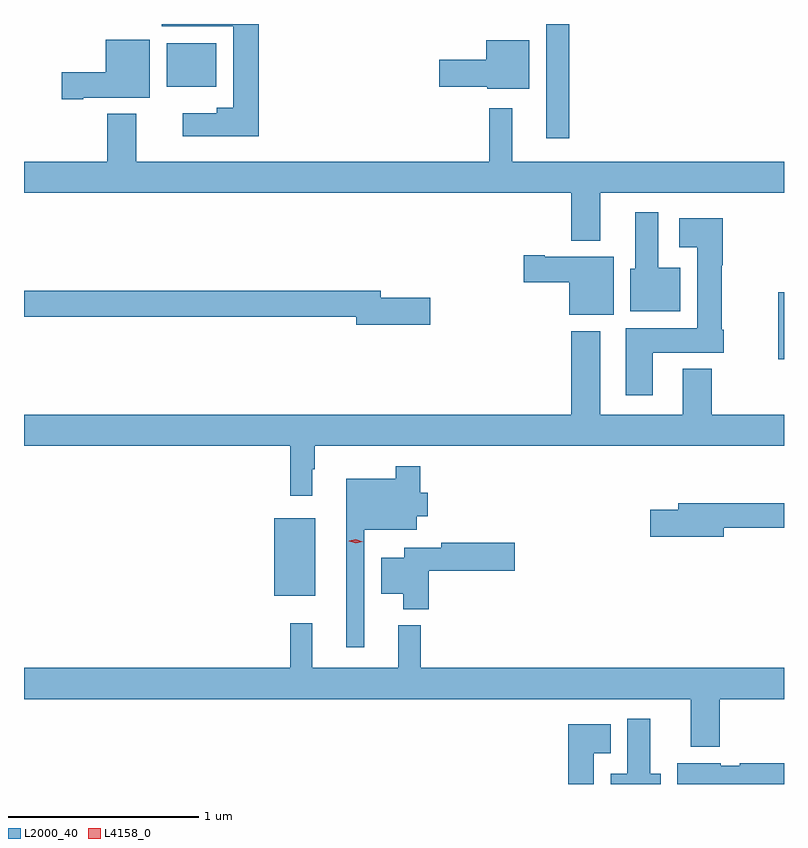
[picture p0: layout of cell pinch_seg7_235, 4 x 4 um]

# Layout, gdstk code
import gdstk
lib = gdstk.Library(unit=1e-6, precision=1e-09)
def R(c, l, rs):  # rectangles x0, y0, x1, y1
    for r in rs: c.add(gdstk.rectangle(r[:2], r[2:], *l))
def P(c, l, *ps):  # polygons
    for p in ps: c.add(gdstk.Polygon(p, *l))
L2000_40 = (2000, 40)
L4158_0 = (4158, 0)

pinch_seg7_235 = lib.new_cell('pinch_seg7_235')
R(pinch_seg7_235, L2000_40, [(832.022,1073.087,832.237,1073.497), (834.674,1074.333,834.705,1074.685), (833.453,1075.497,833.575,1076.097), (831.455,1075.766,831.718,1075.996), (833.154,1076.096,833.275,1076.097)])
P(pinch_seg7_235, L2000_40, [(831.941,1076.097),(831.431,1076.097),(831.431,1076.084),(831.806,1076.084),(831.806,1075.657),(831.719,1075.657),(831.719,1075.627),(831.54,1075.627),(831.54,1075.505),(831.941,1075.505)],
  [(831.016,1075.709),(831.367,1075.709),(831.367,1076.014),(831.134,1076.014),(831.134,1075.844),(830.904,1075.844),(830.904,1075.702),(831.016,1075.702)],
  [(833.365,1076.011),(833.138,1076.011),(833.138,1075.91),(832.89,1075.91),(832.89,1075.768),(833.142,1075.768),(833.142,1075.757),(833.365,1075.757)],
  [(833.737,1075.208),(834.705,1075.208),(834.705,1075.372),(833.275,1075.372),(833.275,1075.654),(833.154,1075.654),(833.154,1075.372),(831.295,1075.372),(831.295,1075.624),(831.143,1075.624),(831.143,1075.372),(830.705,1075.372),(830.705,1075.208),(833.585,1075.208),(833.585,1074.956),(833.737,1074.956)],
  [(834.16,1074.814),(834.043,1074.814),(834.043,1075.105),(833.921,1075.105),(833.921,1074.81),(833.897,1074.81),(833.897,1074.584),(834.16,1074.584)],
  [(834.013,1074.368),(834.388,1074.368),(834.388,1074.489),(834.378,1074.489),(834.378,1074.827),(834.383,1074.827),(834.383,1075.075),(834.153,1075.075),(834.153,1074.923),(834.248,1074.923),(834.248,1074.496),(833.873,1074.496),(833.873,1074.144),(834.013,1074.144)],
  [(833.809,1074.871),(833.446,1074.871),(833.446,1074.879),(833.334,1074.879),(833.334,1074.737),(833.576,1074.737),(833.576,1074.566),(833.809,1074.566)],
  [(832.843,1074.656),(832.582,1074.656),(832.582,1074.692),(830.705,1074.692),(830.705,1074.556),(832.454,1074.556),(832.454,1074.514),(832.843,1074.514)],
  [(832.222,1073.753),(832.234,1073.753),(832.234,1073.876),(834.705,1073.876),(834.705,1074.04),(834.326,1074.04),(834.326,1074.283),(834.173,1074.283),(834.173,1074.04),(833.737,1074.04),(833.737,1074.481),(833.585,1074.481),(833.585,1074.04),(830.705,1074.04),(830.705,1073.876),(832.105,1073.876),(832.105,1073.613),(832.222,1073.613)],
  [(832.497,1073.435),(832.771,1073.435),(832.771,1073.507),(832.831,1073.507),(832.831,1073.629),(832.79,1073.629),(832.79,1073.77),(832.662,1073.77),(832.662,1073.704),(832.4,1073.704),(832.4,1072.818),(832.497,1072.818)],
  [(834.388,1073.446),(834.705,1073.446),(834.705,1073.575),(834.149,1073.575),(834.149,1073.541),(834,1073.541),(834,1073.399),(834.388,1073.399)],
  [(832.835,1073.219),(833.287,1073.219),(833.287,1073.366),(832.902,1073.366),(832.902,1073.341),(832.706,1073.341),(832.706,1073.287),(832.586,1073.287),(832.586,1073.099),(832.7,1073.099),(832.7,1073.018),(832.835,1073.018)],
  [(834.368,1072.544),(834.705,1072.544),(834.705,1072.708),(832.793,1072.708),(832.793,1072.933),(832.676,1072.933),(832.676,1072.708),(832.223,1072.708),(832.223,1072.942),(832.105,1072.942),(832.105,1072.708),(830.705,1072.708),(830.705,1072.544),(834.215,1072.544),(834.215,1072.292),(834.368,1072.292)],
  [(834.055,1072.15),(834.001,1072.15),(834.001,1072.441),(833.879,1072.441),(833.879,1072.15),(833.792,1072.15),(833.792,1072.097),(834.055,1072.097)],
  [(833.704,1072.259),(833.794,1072.259),(833.794,1072.411),(833.57,1072.411),(833.57,1072.097),(833.704,1072.097)],
  [(834.705,1072.207),(834.472,1072.207),(834.472,1072.194),(834.372,1072.194),(834.372,1072.207),(834.143,1072.207),(834.143,1072.097),(834.705,1072.097)])
P(pinch_seg7_235, L4158_0, [(832.451,1073.364),(832.416,1073.375),(832.415,1073.375),(832.416,1073.376),(832.451,1073.384),(832.487,1073.372),(832.487,1073.372),(832.487,1073.372)])

lib.write_gds('pinch_seg7_235.gds')
